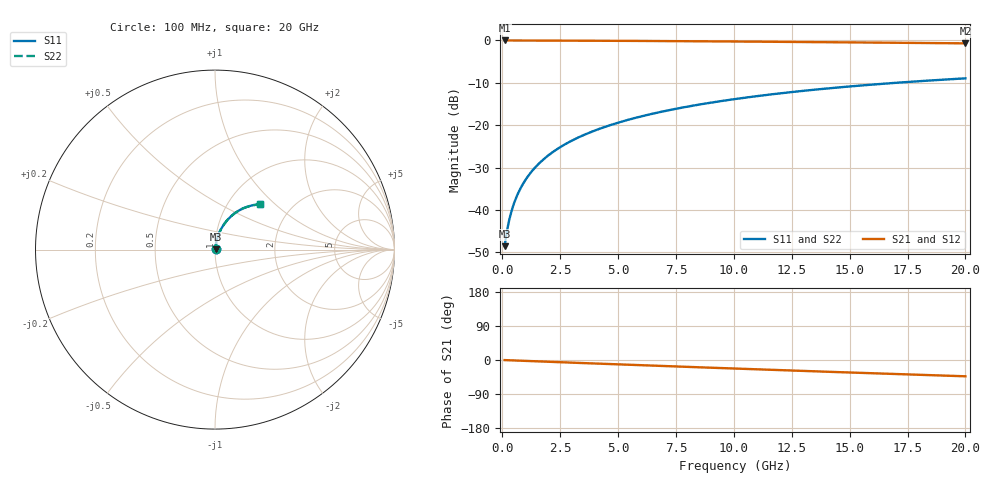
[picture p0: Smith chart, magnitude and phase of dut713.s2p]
! Touchstone file exported from HFSS 2026.1.0
!  File:  C:/ffzhzh/LocalFiles/Ansys_Project_Files/temp_train_TMRDL_713_1783154623_55132.aedt
!  Generated:  04:45:02 PM Jul  4, 2026
!  Design:  TMRDL
!  Project:  temp_train_TMRDL_713_1783154623_55132
! Variables:
!  h_bsmrdl = 2um
!  h_ox = 20um
!  h_rdl = 5um
!  h_sub = 80um
!  h_tmrdl = 4.97um
!  h_tsv = 80um
!  h_via = 3um
!  l_bsmrdl = 300um
!  l_sub = 1067.06um
!  l_tmrdl = 667.06um
!  m_sub = 200um
!  pitch = 38.5um
!  r_tsv = 6um
!  s_tmrdl = 10um
!  w_bsmrdl = 18um
!  w_sub = 500um
!  w_tmrdl = 17.54um
!  x_tsv_center1 = 675.83um
!  x_tsv_center2 = 993.83um
!  x_tsv_center3 = 1678.43um
!  x_tsv_center4 = 1996.43um
!  x_tsv_center5 = 2681.03um
!  x_tsv_center6 = 2999.03um
# GHz S MA R 50.000000
! Terminal data exported
! Port[1] = TM_RDL1_1_T1
! Port[2] = TM_RDL1_1_T2
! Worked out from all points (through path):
!   200 points, 100 MHz to 20 GHz, reference 50 ohm
!   highest |S21| = -0.02 dB at 100 MHz (marker M1); lowest = -0.7 dB at 20 GHz (marker M2)
!   group delay of S21, straight-line fit = 5.97 ps
!   lowest |S11| = -48.6 dB at 100 MHz (marker M3), VSWR 1.01, Z = 50.3 + j0.242 ohm
!   |S11| at or under -10 dB: start of sweep to 17.04 GHz
!   |S22| runs from -48.6 to -9.0 dB; largest |S21 - S12| = 2.4e-15
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0.1  0.003733 40.2  0.9972 -0.2  0.9972 -0.2  0.003733 40.2
! Gamma 0 0 0 0
! Port Impedance 50 0 50 0
0.2  0.005601 57.2  0.997 -0.5  0.997 -0.5  0.005601 57.2
0.3  0.007635 65.1  0.9968 -0.7  0.9968 -0.7  0.007635 65.1
0.4  0.009712 69.6  0.9967 -1.0  0.9967 -1.0  0.009712 69.6
0.5  0.01182 72.6  0.9966 -1.2  0.9966 -1.2  0.01182 72.6
0.6  0.01394 74.6  0.9965 -1.4  0.9965 -1.4  0.01394 74.6
0.8  0.01823 77.1  0.9964 -1.9  0.9964 -1.9  0.01823 77.1
1.1  0.02473 79.0  0.9961 -2.6  0.9961 -2.6  0.02473 79.0
1.5  0.03341 79.8  0.9956 -3.5  0.9956 -3.5  0.03341 79.8
1.8  0.0399 79.9  0.9951 -4.2  0.9951 -4.2  0.0399 79.9
2.1  0.04637 79.8  0.9946 -4.9  0.9946 -4.9  0.04637 79.8
2.7  0.0592 79.1  0.9935 -6.3  0.9935 -6.3  0.0592 79.1
3.5  0.07604 77.7  0.9916 -8.1  0.9916 -8.1  0.07604 77.7
4.2  0.09052 76.4  0.9898 -9.7  0.9898 -9.7  0.09052 76.4
5  0.1068 74.8  0.9875 -11.5  0.9875 -11.5  0.1068 74.8
5.9  0.1248 73.0  0.9847 -13.5  0.9847 -13.5  0.1248 73.0
6.8  0.1424 71.2  0.9817 -15.5  0.9817 -15.5  0.1424 71.2
8.3  0.1709 68.2  0.9762 -18.8  0.9762 -18.8  0.1709 68.1
10.1  0.2039 64.5  0.969 -22.7  0.969 -22.7  0.2039 64.5
13.4  0.2604 57.9  0.9543 -29.7  0.9543 -29.7  0.2604 57.9
16.7  0.3113 51.4  0.9382 -36.5  0.9382 -36.5  0.3113 51.3
20  0.3562 45.0  0.9218 -43.0  0.9218 -43.0  0.3562 45.0
